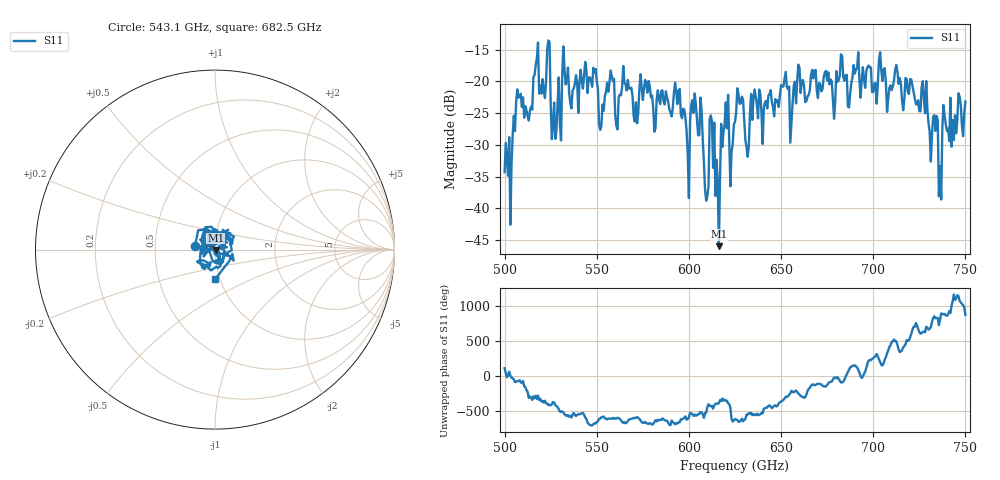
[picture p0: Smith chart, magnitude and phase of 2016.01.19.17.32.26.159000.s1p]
!Created with skrf (http://scikit-rf.org).
# GHz S RI R 50.0
!freq ReS11 ImS11
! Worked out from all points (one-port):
!   401 points, 500 GHz to 750 GHz, reference 50 ohm
!   lowest |S11| = -46.0 dB at 616.2 GHz (marker M1), VSWR 1.01, Z = 50.5 - j0.216 ohm
!   |S11| at or under -10 dB: start of sweep to end of sweep
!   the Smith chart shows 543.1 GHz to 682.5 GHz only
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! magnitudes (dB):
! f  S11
! 500 GHz  -34.3
! 503.1 GHz  -42.6
! 507.5 GHz  -22.6
! 513.8 GHz  -24.6
! 516.9 GHz  -17.4
! 523.8 GHz  -13.5
! 526.9 GHz  -23.3
! 531.2 GHz  -19.0
! 562.5 GHz  -22.1
! 593.8 GHz  -23.6
! 599.4 GHz  -31.6
! 602.5 GHz  -24.9
! 605.6 GHz  -28.5
! 609.4 GHz  -38.8
! 612.5 GHz  -26.3
! 616.2 GHz  -46.0
! 620 GHz  -23.3
! 623.1 GHz  -31.1
! 625 GHz  -26.4
! 651.2 GHz  -20.8
! 656.2 GHz  -23.4
! 667.5 GHz  -19.5
! 687.5 GHz  -21.8
! 718.8 GHz  -21.6
! 733.8 GHz  -27.8
! 736.2 GHz  -33.4
! 738.8 GHz  -25.5
! 750 GHz  -23.2
